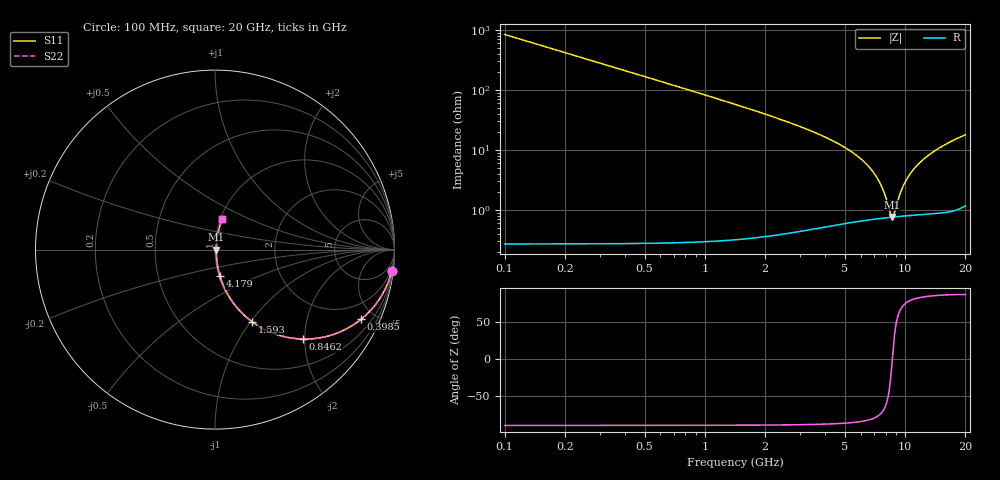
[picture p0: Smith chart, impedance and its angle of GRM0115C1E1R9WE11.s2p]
!Murata Part Number: GRM0115C1E1R9WE11
!These Parameters are Measured in Series Mode Connection
!Data Generated on Mar 30, 2021
!  o--ll--o
!Port1  Port2
!  o------o
!Operation Temp=25[degC], DC Bias Voltage=0[V]
!Freq. Start=100[MHz] Stop=20[GHz] 401[Steps]
# Hz S RI R 50
!Freq.(Hz) S11(Real) S11(Imag) S21(Real) S21(Imag) S12(Real) S12(Imag) S22(Real) S22(Imag)
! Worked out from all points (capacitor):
!   401 points, 100 MHz to 20 GHz, reference 50 ohm
!   read as one part in series: C = 1.9 pF near 199.5 MHz
!   lowest |Z| = 761 mohm at 8.607 GHz (marker M1)
!   series resonance near 8.635 GHz, so ESL is about 180 pH
!   S11 on the Smith chart (normalised r, x): 100 MHz: 1, -17; 398.5 MHz: 1.01, -4.19; 846.2 MHz: 1.01, -1.96; 1.593 GHz: 1.01, -1.01; 4.179 GHz: 1.01, -0.30; 20 GHz: 1.02, +0.36
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1e8  0.9859 -0.1177  0.0141 0.1177  0.0141 0.1177  0.9859 -0.1177
2.99e8  0.8865 -0.3167  0.1135 0.3167  0.1135 0.3167  0.8865 -0.3167
3.985e8  0.8144 -0.3881  0.1856 0.3881  0.1856 0.3881  0.8144 -0.3881
5.975e8  0.6601 -0.4727  0.3399 0.4727  0.3399 0.4727  0.6601 -0.4727
8.4625e8  0.4897 -0.4984  0.5103 0.4984  0.5103 0.4984  0.4897 -0.4984
1.1945e9  0.3213 -0.4647  0.6787 0.4647  0.6787 0.4647  0.3213 -0.4647
1.5925e9  0.2059 -0.4011  0.7941 0.4011  0.7941 0.4011  0.2059 -0.4011
2.33875e9  0.1011 -0.2957  0.8989 0.2957  0.8989 0.2957  0.1011 -0.2957
3.43325e9  0.044 -0.1937  0.956 0.1937  0.956 0.1937  0.044 -0.1937
4.1795e9  0.0275 -0.1467  0.9725 0.1467  0.9725 0.1467  0.0275 -0.1467
5.72175e9  0.0127 -0.0793  0.9873 0.0793  0.9873 0.0793  0.0127 -0.0793
6.7665e9  0.009 -0.0462  0.991 0.0462  0.991 0.0462  0.009 -0.0462
7.662e9  0.00772 -0.0225  0.9923 0.0225  0.9923 0.0225  0.00772 -0.0225
8.458e9  0.00749 -0.00388  0.9925 0.00388  0.9925 0.00388  0.00749 -0.00388
8.60725e9  0.00752 -0.000606  0.9925 0.000606  0.9925 0.000606  0.00752 -0.000606
8.80625e9  0.0076 0.00367  0.9924 -0.00367  0.9924 -0.00367  0.0076 0.00367
9.50275e9  0.00809 0.0179  0.9919 -0.0179  0.9919 -0.0179  0.00809 0.0179
1.005e10  0.00871 0.0284  0.9913 -0.0284  0.9913 -0.0284  0.00871 0.0284
1.139325e10  0.0109 0.0522  0.9891 -0.0522  0.9891 -0.0522  0.0109 0.0522
1.338325e10  0.0156 0.0836  0.9844 -0.0836  0.9844 -0.0836  0.0156 0.0836
1.67165e10  0.0265 0.1298  0.9735 -0.1298  0.9735 -0.1298  0.0265 0.1298
2e10  0.0412 0.1686  0.9588 -0.1686  0.9588 -0.1686  0.0412 0.1686
